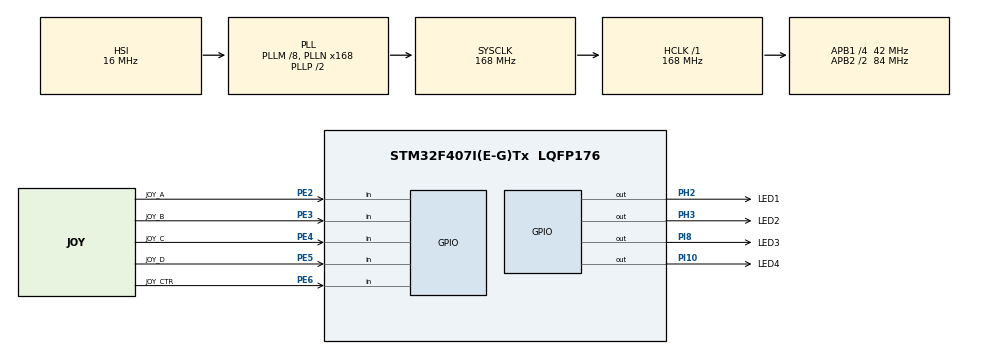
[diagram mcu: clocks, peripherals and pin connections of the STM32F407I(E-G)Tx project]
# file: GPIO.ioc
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Mcu.Family=STM32F4
Mcu.Name=STM32F407I(E-G)Tx
Mcu.Package=LQFP176
NVIC.PriorityGroup=NVIC_PRIORITYGROUP_4
PE2.GPIO_Label=JOY_A
PE2.GPIO_PuPd=GPIO_PULLUP
PE2.Signal=GPIO_Input
PE3.GPIO_Label=JOY_B
PE3.GPIO_PuPd=GPIO_PULLUP
PE3.Signal=GPIO_Input
PE4.GPIO_Label=JOY_C
PE4.GPIO_PuPd=GPIO_PULLUP
PE4.Signal=GPIO_Input
PE5.GPIO_Label=JOY_D
PE5.GPIO_PuPd=GPIO_PULLUP
PE5.Signal=GPIO_Input
PE6.GPIO_Label=JOY_CTR
PE6.GPIO_PuPd=GPIO_PULLUP
PE6.Signal=GPIO_Input
PH0-OSC_IN.Mode=HSE-External-Oscillator
PH0-OSC_IN.Signal=RCC_OSC_IN
PH1-OSC_OUT.Mode=HSE-External-Oscillator
PH1-OSC_OUT.Signal=RCC_OSC_OUT
PH2.GPIO_Label=LED1
PH2.Signal=GPIO_Output
PH3.GPIO_Label=LED2
PH3.Signal=GPIO_Output
PI10.GPIO_Label=LED4
PI10.Signal=GPIO_Output
PI8-\ ANTI\ TAMP2.GPIO_Label=LED3
PI8-\ ANTI\ TAMP2.Signal=GPIO_Output
ProjectManager.HeapSize=0x1000
ProjectManager.StackSize=0x2000
ProjectManager.TargetToolchain=MDK-ARM V5
RCC.48MHZClocksFreq_Value=84000000
RCC.AHBFreq_Value=168000000
RCC.APB1CLKDivider=RCC_HCLK_DIV4
RCC.APB1Freq_Value=42000000
RCC.APB1TimFreq_Value=84000000
RCC.APB2CLKDivider=RCC_HCLK_DIV2
RCC.APB2Freq_Value=84000000
RCC.APB2TimFreq_Value=168000000
RCC.CortexFreq_Value=168000000
RCC.HCLKFreq_Value=168000000
RCC.HSE_VALUE=8000000
RCC.HSI_VALUE=16000000
RCC.LSE_VALUE=32768
RCC.PLLM=8
RCC.PLLN=168
RCC.SYSCLKFreq_VALUE=168000000
RCC.SYSCLKSource=RCC_SYSCLKSOURCE_PLLCLK
RCC.VCOOutputFreq_Value=336000000
board=GPIO

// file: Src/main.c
/**
  ******************************************************************************
  * File Name          : main.c
  * Description        : Main program body
  ******************************************************************************
  *
  * COPYRIGHT(c) 2017 STMicroelectronics
  *
  * Redistribution and use in source and binary forms, with or without modification,
  * are permitted provided that the following conditions are met:
  *   1. Redistributions of source code must retain the above copyright notice,
  *      this list of conditions and the following disclaimer.
  *   2. Redistributions in binary form must reproduce the above copyright notice,
  *      this list of conditions and the following disclaimer in the documentation
  *      and/or other materials provided with the distribution.
  *   3. Neither the name of STMicroelectronics nor the names of its contributors
  *      may be used to endorse or promote products derived from this software
  *      without specific prior written permission.
  *
  * THIS SOFTWARE IS PROVIDED BY THE COPYRIGHT HOLDERS AND CONTRIBUTORS "AS IS"
  * AND ANY EXPRESS OR IMPLIED WARRANTIES, INCLUDING, BUT NOT LIMITED TO, THE
  * IMPLIED WARRANTIES OF MERCHANTABILITY AND FITNESS FOR A PARTICULAR PURPOSE ARE
  * DISCLAIMED. IN NO EVENT SHALL THE COPYRIGHT HOLDER OR CONTRIBUTORS BE LIABLE
  * FOR ANY DIRECT, INDIRECT, INCIDENTAL, SPECIAL, EXEMPLARY, OR CONSEQUENTIAL
  * DAMAGES (INCLUDING, BUT NOT LIMITED TO, PROCUREMENT OF SUBSTITUTE GOODS OR
  * SERVICES; LOSS OF USE, DATA, OR PROFITS; OR BUSINESS INTERRUPTION) HOWEVER
  * CAUSED AND ON ANY THEORY OF LIABILITY, WHETHER IN CONTRACT, STRICT LIABILITY,
  * OR TORT (INCLUDING NEGLIGENCE OR OTHERWISE) ARISING IN ANY WAY OUT OF THE USE
  * OF THIS SOFTWARE, EVEN IF ADVISED OF THE POSSIBILITY OF SUCH DAMAGE.
  *
  ******************************************************************************
  */
#include "main.h"
#include "stm32f4xx_hal.h"
#include "gpio.h"

/* USER CODE BEGIN PV */
/* Private variables ---------------------------------------------------------*/

/* USER CODE END PV */

void SystemClock_Config(void);
void Error_Handler(void);

/* USER CODE BEGIN PFP */
/* Private function prototypes -----------------------------------------------*/

/* USER CODE END PFP */

int main(void)
{

  /* MCU Configuration----------------------------------------------------------*/

  /* Reset of all peripherals, Initializes the Flash interface and the Systick. */
  HAL_Init();

  /* Configure the system clock */
  SystemClock_Config();

  /* Initialize all configured peripherals */
  MX_GPIO_Init();

  /* Infinite loop */
  while (1)
  {

  /* USER CODE BEGIN 3 */
    /* A - LED1 */
    if(HAL_GPIO_ReadPin(JOY_A_GPIO_Port, JOY_A_Pin) == GPIO_PIN_RESET)
      HAL_GPIO_WritePin(LED1_GPIO_Port, LED1_Pin, GPIO_PIN_SET);
    else
      HAL_GPIO_WritePin(LED1_GPIO_Port, LED1_Pin, GPIO_PIN_RESET);
    /* B - LED2 */
    if(HAL_GPIO_ReadPin(JOY_B_GPIO_Port, JOY_B_Pin) == GPIO_PIN_RESET)
      HAL_GPIO_WritePin(LED2_GPIO_Port, LED2_Pin, GPIO_PIN_SET);
    else
      HAL_GPIO_WritePin(LED2_GPIO_Port, LED2_Pin, GPIO_PIN_RESET);
    /* C - LED3 */
    if(HAL_GPIO_ReadPin(JOY_C_GPIO_Port, JOY_C_Pin) == GPIO_PIN_RESET)
      HAL_GPIO_WritePin(LED3_GPIO_Port, LED3_Pin, GPIO_PIN_SET);
    else
      HAL_GPIO_WritePin(LED3_GPIO_Port, LED3_Pin, GPIO_PIN_RESET);
    /* D - LED4 */
    if(HAL_GPIO_ReadPin(JOY_D_GPIO_Port, JOY_D_Pin) == GPIO_PIN_RESET)
      HAL_GPIO_WritePin(LED4_GPIO_Port, LED4_Pin, GPIO_PIN_SET);
    else
      HAL_GPIO_WritePin(LED4_GPIO_Port, LED4_Pin, GPIO_PIN_RESET);
    /* PRESS - LED1 LED2 LED3 LED4 */
    if(HAL_GPIO_ReadPin(JOY_CTR_GPIO_Port, JOY_CTR_Pin) == GPIO_PIN_RESET)
    {
      HAL_GPIO_WritePin(LED1_GPIO_Port, LED1_Pin, GPIO_PIN_SET);
      HAL_GPIO_WritePin(LED2_GPIO_Port, LED2_Pin, GPIO_PIN_SET);
      HAL_GPIO_WritePin(LED3_GPIO_Port, LED3_Pin, GPIO_PIN_SET);
      HAL_GPIO_WritePin(LED4_GPIO_Port, LED4_Pin, GPIO_PIN_SET);
    }
    else
    {
      HAL_GPIO_WritePin(LED1_GPIO_Port, LED1_Pin, GPIO_PIN_RESET);
      HAL_GPIO_WritePin(LED2_GPIO_Port, LED2_Pin, GPIO_PIN_RESET);
      HAL_GPIO_WritePin(LED3_GPIO_Port, LED3_Pin, GPIO_PIN_RESET);
      HAL_GPIO_WritePin(LED4_GPIO_Port, LED4_Pin, GPIO_PIN_RESET);
    }
  }
  /* USER CODE END 3 */

}

/** System Clock Configuration
*/
void SystemClock_Config(void)
{

  RCC_OscInitTypeDef RCC_OscInitStruct;
  RCC_ClkInitTypeDef RCC_ClkInitStruct;

    /**Configure the main internal regulator output voltage
    */
  __HAL_RCC_PWR_CLK_ENABLE();

  __HAL_PWR_VOLTAGESCALING_CONFIG(PWR_REGULATOR_VOLTAGE_SCALE1);

    /**Initializes the CPU, AHB and APB busses clocks
    */
  RCC_OscInitStruct.OscillatorType = RCC_OSCILLATORTYPE_HSI;
  RCC_OscInitStruct.HSIState = RCC_HSI_ON;
  RCC_OscInitStruct.HSICalibrationValue = 16;
  RCC_OscInitStruct.PLL.PLLState = RCC_PLL_ON;
  RCC_OscInitStruct.PLL.PLLSource = RCC_PLLSOURCE_HSI;
  RCC_OscInitStruct.PLL.PLLM = 8;
  RCC_OscInitStruct.PLL.PLLN = 168;
  RCC_OscInitStruct.PLL.PLLP = RCC_PLLP_DIV2;
  RCC_OscInitStruct.PLL.PLLQ = 4;
  if (HAL_RCC_OscConfig(&RCC_OscInitStruct) != HAL_OK)
  {
    Error_Handler();
  }

    /**Initializes the CPU, AHB and APB busses clocks
    */
  RCC_ClkInitStruct.ClockType = RCC_CLOCKTYPE_HCLK|RCC_CLOCKTYPE_SYSCLK
                              |RCC_CLOCKTYPE_PCLK1|RCC_CLOCKTYPE_PCLK2;
  RCC_ClkInitStruct.SYSCLKSource = RCC_SYSCLKSOURCE_PLLCLK;
  RCC_ClkInitStruct.AHBCLKDivider = RCC_SYSCLK_DIV1;
  RCC_ClkInitStruct.APB1CLKDivider = RCC_HCLK_DIV4;
  RCC_ClkInitStruct.APB2CLKDivider = RCC_HCLK_DIV2;

  if (HAL_RCC_ClockConfig(&RCC_ClkInitStruct, FLASH_LATENCY_5) != HAL_OK)
  {
    Error_Handler();
  }

    /**Configure the Systick interrupt time
    */
  HAL_SYSTICK_Config(HAL_RCC_GetHCLKFreq()/1000);

    /**Configure the Systick
    */
  HAL_SYSTICK_CLKSourceConfig(SYSTICK_CLKSOURCE_HCLK);

  /* SysTick_IRQn interrupt configuration */
  HAL_NVIC_SetPriority(SysTick_IRQn, 0, 0);
}

void Error_Handler(void)
{
  while(1)
  {
  }
}

/************************ (C) COPYRIGHT STMicroelectronics *****END OF FILE****/
